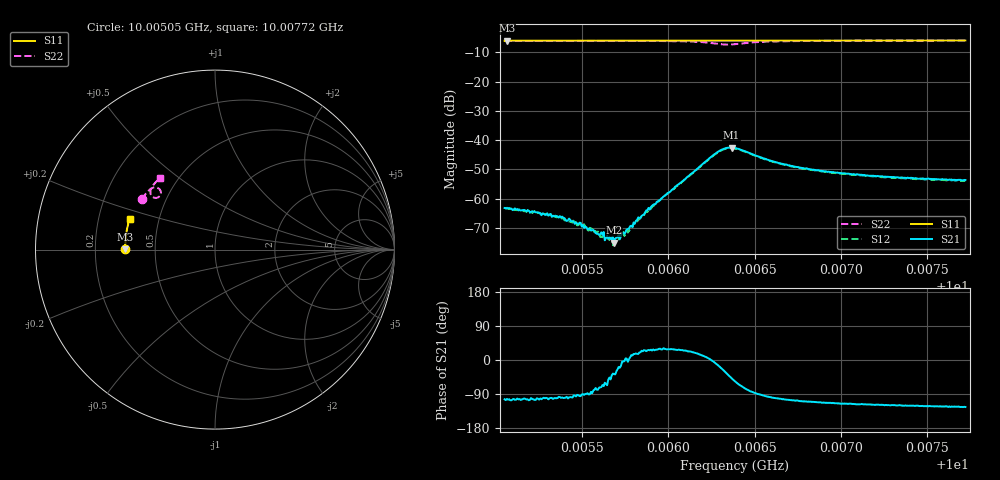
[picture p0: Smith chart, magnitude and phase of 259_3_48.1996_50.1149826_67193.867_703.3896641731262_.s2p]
#  HZ  S  RI  R  50.00
! Rohde & Schwarz Vector Network Analyzer
! Rohde-Schwarz,ZNB20-2Port,1311601062101988,3.16
! Created: UTC 3/20/2024, 11:47:42 AM
! freq[Hz]  re:S11  im:S11  re:S21  im:S21  re:S12  im:S12  re:S22  im:S22
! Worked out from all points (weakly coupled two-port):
!   401 points, 10.00505 GHz to 10.00772 GHz, reference 50 ohm
!   highest |S21| = -42.54 dB at 10.00637 GHz (marker M1); lowest = -75.1 dB at 10.00569 GHz (marker M2)
!   lowest |S11| = -6.0 dB at 10.00507 GHz (marker M3), VSWR 3.00, Z = 16.7 + j0.0866 ohm
!   |S11| at or under -10 dB: nowhere
!   |S22| runs from -7.4 to -6.0 dB; largest |S21 - S12| = 0.00043
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1.0005052e10  -0.4998 0.00116  -0.000162 -0.000675  -0.00015 -0.000687  -0.4073 0.281
1.0005065e10  -0.4997 0.00195  -0.00015 -0.000664  -0.000128 -0.000687  -0.4069 0.2817
1.0005239e10  -0.4999 0.0133  -0.000113 -0.000574  -0.000101 -0.000549  -0.4002 0.2919
1.0005385e10  -0.4999 0.0229  -7.7e-05 -0.000487  -5.34e-05 -0.000467  -0.3942 0.3007
1.0005499e10  -0.4997 0.0302  -5.62e-06 -0.000335  1.3e-05 -0.000347  -0.3892 0.3077
1.0005592e10  -0.4995 0.0362  5.09e-05 -0.000246  5.92e-05 -0.000268  -0.3847 0.3133
1.0005619e10  -0.4995 0.038  9.83e-05 -0.00022  0.000108 -0.000191  -0.3834 0.3149
1.0005646e10  -0.4994 0.0397  9.27e-05 -0.000214  0.000122 -0.00018  -0.3819 0.3167
1.0005686e10  -0.4991 0.0423  0.000141 -0.000107  0.000182 -6.71e-05  -0.3798 0.3191
1.0005692e10  -0.4993 0.0426  0.000163 -0.000127  0.000178 -8.76e-05  -0.3794 0.3195
1.0005726e10  -0.499 0.0449  0.000221 -6.08e-05  0.000233 -4.7e-05  -0.3775 0.3217
1.0005759e10  -0.499 0.047  0.000298 1.83e-05  0.000286 4.5e-06  -0.3757 0.3238
1.0005879e10  -0.4984 0.0549  0.000576 0.000276  0.000518 0.00029  -0.3676 0.3316
1.0005946e10  -0.498 0.059  0.000813 0.000461  0.000786 0.000446  -0.3619 0.336
1.0006272e10  -0.4953 0.0801  0.00583 -0.000844  0.00574 -0.000563  -0.304 0.3282
1.0006319e10  -0.4947 0.0829  0.00631 -0.00321  0.00629 -0.00287  -0.3031 0.307
1.0006366e10  -0.4943 0.0856  0.00498 -0.00555  0.00515 -0.00516  -0.3187 0.2902
1.0006386e10  -0.4943 0.0867  0.00405 -0.00608  0.00429 -0.00578  -0.3278 0.2881
1.0006619e10  -0.4924 0.1017  -0.000768 -0.00416  -0.000568 -0.0041  -0.3593 0.3283
1.0006833e10  -0.4899 0.1153  -0.00109 -0.00294  -0.000948 -0.00293  -0.3502 0.3504
1.0007279e10  -0.4835 0.1434  -0.00116 -0.00205  -0.00103 -0.00207  -0.3275 0.3784
1.0007719e10  -0.4755 0.1705  -0.00117 -0.00173  -0.00103 -0.00173  -0.3051 0.3996
